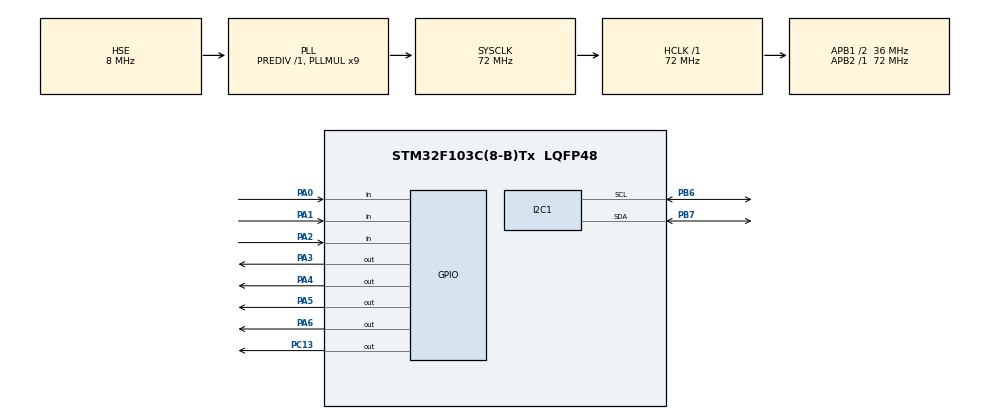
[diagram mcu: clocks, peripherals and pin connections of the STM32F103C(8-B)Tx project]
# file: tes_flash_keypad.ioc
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Mcu.Family=STM32F1
Mcu.Name=STM32F103C(8-B)Tx
Mcu.Package=LQFP48
NVIC.PriorityGroup=NVIC_PRIORITYGROUP_4
PA0-WKUP.GPIO_PuPd=GPIO_PULLUP
PA0-WKUP.Signal=GPIO_Input
PA1.GPIO_PuPd=GPIO_PULLUP
PA1.Signal=GPIO_Input
PA13.Mode=Serial_Wire
PA13.Signal=SYS_JTMS-SWDIO
PA14.Mode=Serial_Wire
PA14.Signal=SYS_JTCK-SWCLK
PA2.GPIO_PuPd=GPIO_PULLUP
PA2.Signal=GPIO_Input
PA3.Signal=GPIO_Output
PA4.Signal=GPIO_Output
PA5.Signal=GPIO_Output
PA6.Signal=GPIO_Output
PB6.Mode=I2C
PB6.Signal=I2C1_SCL
PB7.Mode=I2C
PB7.Signal=I2C1_SDA
PC13-TAMPER-RTC.Signal=GPIO_Output
PD0-OSC_IN.Mode=HSE-External-Oscillator
PD0-OSC_IN.Signal=RCC_OSC_IN
PD1-OSC_OUT.Mode=HSE-External-Oscillator
PD1-OSC_OUT.Signal=RCC_OSC_OUT
ProjectManager.HeapSize=0x200
ProjectManager.StackSize=0x400
ProjectManager.TargetToolchain=STM32CubeIDE
RCC.AHBFreq_Value=72000000
RCC.APB1CLKDivider=RCC_HCLK_DIV2
RCC.APB1Freq_Value=36000000
RCC.APB1TimFreq_Value=72000000
RCC.APB2Freq_Value=72000000
RCC.APB2TimFreq_Value=72000000
RCC.HCLKFreq_Value=72000000
RCC.PLLMUL=RCC_PLL_MUL9
RCC.PLLSourceVirtual=RCC_PLLSOURCE_HSE
RCC.SYSCLKFreq_VALUE=72000000
RCC.SYSCLKSource=RCC_SYSCLKSOURCE_PLLCLK
RCC.USBFreq_Value=72000000
board=custom

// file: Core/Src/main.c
/* USER CODE BEGIN Header */
/**
  ******************************************************************************
  * @file           : main.c
  * @brief          : Main program body
  ******************************************************************************
  * @attention
  *
  * Copyright (c) 2023 STMicroelectronics.
  * All rights reserved.
  *
  * This software is licensed under terms that can be found in the LICENSE file
  * in the root directory of this software component.
  * If no LICENSE file comes with this software, it is provided AS-IS.
  *
  ******************************************************************************
  */
/* USER CODE END Header */
#include "main.h"

/* USER CODE BEGIN Includes */
#include "api_keypad.h"
/* USER CODE END Includes */

/* USER CODE BEGIN PTD */
//uint8_t x = 0;
//uint8_t y = 0;
/* USER CODE END PTD */

I2C_HandleTypeDef hi2c1;

/* USER CODE BEGIN PV */
uint8_t key;
uint8_t key_check = '*';
uint8_t str[4];
/* USER CODE END PV */

void SystemClock_Config(void);
static void MX_GPIO_Init(void);
static void MX_I2C1_Init(void);

int main(void) {

	/* MCU Configuration--------------------------------------------------------*/

	/* Reset of all peripherals, Initializes the Flash interface and the Systick. */
	HAL_Init();

	/* Configure the system clock */
	SystemClock_Config();

	/* Initialize all configured peripherals */
	MX_GPIO_Init();
	MX_I2C1_Init();
	/* USER CODE BEGIN 2 */
	keypad_name keypad;
	api_keypad_init(&keypad, GPIOA, GPIO_PIN_0, GPIOA, GPIO_PIN_1, GPIOA,
			GPIO_PIN_2, GPIOA, GPIO_PIN_3, GPIOA, GPIO_PIN_4, GPIOA, GPIO_PIN_5,
			GPIOA, GPIO_PIN_6);
	lcd_init(&hi2c1);
	/* USER CODE END 2 */

	/* Infinite loop */
	while (1) {

		/* USER CODE BEGIN 3 */
	// this code line use to test api
	if (api_check_have_button(&keypad)) {
		if (api_check_button(&keypad, key_check)) {
			if (api_enter_pass(&keypad, str)) {
				lcd_send_string("sucessful");
				HAL_Delay(500);
			} else {
				lcd_send_string("time out");
				HAL_Delay(500);
			}
		}
	}
	lcd_clear();
		/* USER CODE END 3 */
	}
}

void SystemClock_Config(void)
{
  RCC_OscInitTypeDef RCC_OscInitStruct = {0};
  RCC_ClkInitTypeDef RCC_ClkInitStruct = {0};

  /** Initializes the RCC Oscillators according to the specified parameters
  * in the RCC_OscInitTypeDef structure.
  */
  RCC_OscInitStruct.OscillatorType = RCC_OSCILLATORTYPE_HSE;
  RCC_OscInitStruct.HSEState = RCC_HSE_ON;
  RCC_OscInitStruct.HSEPredivValue = RCC_HSE_PREDIV_DIV1;
  RCC_OscInitStruct.HSIState = RCC_HSI_ON;
  RCC_OscInitStruct.PLL.PLLState = RCC_PLL_ON;
  RCC_OscInitStruct.PLL.PLLSource = RCC_PLLSOURCE_HSE;
  RCC_OscInitStruct.PLL.PLLMUL = RCC_PLL_MUL9;
  if (HAL_RCC_OscConfig(&RCC_OscInitStruct) != HAL_OK)
  {
    Error_Handler();
  }

  /** Initializes the CPU, AHB and APB buses clocks
  */
  RCC_ClkInitStruct.ClockType = RCC_CLOCKTYPE_HCLK|RCC_CLOCKTYPE_SYSCLK
                              |RCC_CLOCKTYPE_PCLK1|RCC_CLOCKTYPE_PCLK2;
  RCC_ClkInitStruct.SYSCLKSource = RCC_SYSCLKSOURCE_PLLCLK;
  RCC_ClkInitStruct.AHBCLKDivider = RCC_SYSCLK_DIV1;
  RCC_ClkInitStruct.APB1CLKDivider = RCC_HCLK_DIV2;
  RCC_ClkInitStruct.APB2CLKDivider = RCC_HCLK_DIV1;

  if (HAL_RCC_ClockConfig(&RCC_ClkInitStruct, FLASH_LATENCY_2) != HAL_OK)
  {
    Error_Handler();
  }
}

static void MX_I2C1_Init(void)
{

  hi2c1.Instance = I2C1;
  hi2c1.Init.ClockSpeed = 100000;
  hi2c1.Init.DutyCycle = I2C_DUTYCYCLE_2;
  hi2c1.Init.OwnAddress1 = 0;
  hi2c1.Init.AddressingMode = I2C_ADDRESSINGMODE_7BIT;
  hi2c1.Init.DualAddressMode = I2C_DUALADDRESS_DISABLE;
  hi2c1.Init.OwnAddress2 = 0;
  hi2c1.Init.GeneralCallMode = I2C_GENERALCALL_DISABLE;
  hi2c1.Init.NoStretchMode = I2C_NOSTRETCH_DISABLE;
  if (HAL_I2C_Init(&hi2c1) != HAL_OK)
  {
    Error_Handler();
  }

}

static void MX_GPIO_Init(void)
{
  GPIO_InitTypeDef GPIO_InitStruct = {0};

  /* GPIO Ports Clock Enable */
  __HAL_RCC_GPIOC_CLK_ENABLE();
  __HAL_RCC_GPIOD_CLK_ENABLE();
  __HAL_RCC_GPIOA_CLK_ENABLE();
  __HAL_RCC_GPIOB_CLK_ENABLE();

  /*Configure GPIO pin Output Level */
  HAL_GPIO_WritePin(GPIOC, GPIO_PIN_13, GPIO_PIN_RESET);

  /*Configure GPIO pin Output Level */
  HAL_GPIO_WritePin(GPIOA, GPIO_PIN_3|GPIO_PIN_4|GPIO_PIN_5|GPIO_PIN_6, GPIO_PIN_RESET);

  /*Configure GPIO pin : PC13 */
  GPIO_InitStruct.Pin = GPIO_PIN_13;
  GPIO_InitStruct.Mode = GPIO_MODE_OUTPUT_PP;
  GPIO_InitStruct.Pull = GPIO_NOPULL;
  GPIO_InitStruct.Speed = GPIO_SPEED_FREQ_LOW;
  HAL_GPIO_Init(GPIOC, &GPIO_InitStruct);

  /*Configure GPIO pins : PA0 PA1 PA2 */
  GPIO_InitStruct.Pin = GPIO_PIN_0|GPIO_PIN_1|GPIO_PIN_2;
  GPIO_InitStruct.Mode = GPIO_MODE_INPUT;
  GPIO_InitStruct.Pull = GPIO_PULLUP;
  HAL_GPIO_Init(GPIOA, &GPIO_InitStruct);

  /*Configure GPIO pins : PA3 PA4 PA5 PA6 */
  GPIO_InitStruct.Pin = GPIO_PIN_3|GPIO_PIN_4|GPIO_PIN_5|GPIO_PIN_6;
  GPIO_InitStruct.Mode = GPIO_MODE_OUTPUT_PP;
  GPIO_InitStruct.Pull = GPIO_NOPULL;
  GPIO_InitStruct.Speed = GPIO_SPEED_FREQ_LOW;
  HAL_GPIO_Init(GPIOA, &GPIO_InitStruct);

}

void Error_Handler(void)
{
  __disable_irq();
  while (1)
  {
  }
}
